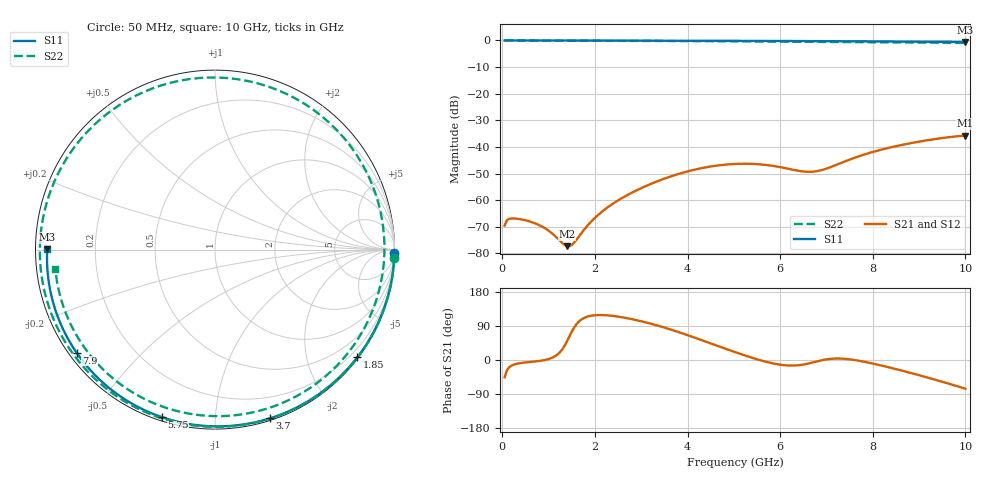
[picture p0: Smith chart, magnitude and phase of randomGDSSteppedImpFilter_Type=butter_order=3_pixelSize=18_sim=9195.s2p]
! freq	dB(S11)	phase(S11)	dB(S12)	phase(S12)
!  dB(S21)	phase(S21)	dB(S22)	phase(S22)
!S-par simulation data
#  GHz  S  DB  R 50
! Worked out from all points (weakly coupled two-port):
!   200 points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, 50 MHz to 10 GHz, reference 50 ohm
!   highest |S21| = -35.71 dB at 10 GHz (marker M1); lowest = -77.3 dB at 1.4 GHz (marker M2)
!   lowest |S11| = -0.6 dB at 10 GHz (marker M3), VSWR 29.62, Z = 1.69 + j0.0421 ohm
!   |S11| at or under -10 dB: nowhere
!   |S22| runs from -1.0 to 0.0 dB; largest |S21 - S12| = 0
!   S11 on the Smith chart (normalised r, x): 50 MHz: open; 1.85 GHz: 0.03, -2.98; 3.7 GHz: 0.02, -1.38; 5.75 GHz: 0.02, -0.73; 7.9 GHz: 0.02, -0.33; 10 GHz: 0.03, +0.00
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0.05  -0.00 -1.0  -69.53 -45.6  -69.53 -45.6  -0.00 -2.7
0.15  -0.00 -3.1  -67.00 -19.1  -67.00 -19.1  -0.00 -8.1
0.6  -0.01 -12.2  -68.02 -5.3  -68.02 -5.3  -0.03 -32.1
0.95  -0.02 -19.3  -70.86 0.9  -70.86 0.9  -0.06 -50.4
1.4  -0.04 -28.2  -77.27 49.9  -77.27 49.9  -0.09 -73.1
1.5  -0.04 -30.2  -76.80 74.7  -76.80 74.7  -0.09 -78.1
1.75  -0.04 -35.1  -71.42 110.0  -71.42 110.0  -0.11 -90.3
1.85  -0.05 -37.1  -69.33 114.9  -69.33 114.9  -0.11 -95.1
2.55  -0.06 -50.6  -59.55 113.5  -59.55 113.5  -0.15 -128.2
3.4  -0.09 -66.5  -52.55 89.2  -52.55 89.2  -0.20 -168.2
3.7  -0.10 -72.0  -50.72 77.9  -50.72 77.9  -0.22 177.1
4.35  -0.12 -83.6  -47.80 50.4  -47.80 50.4  -0.27 143.2
5.05  -0.15 -95.8  -46.37 19.8  -46.37 19.8  -0.34 101.7
5.4  -0.16 -101.8  -46.36 5.7  -46.36 5.7  -0.38 78.8
5.75  -0.18 -107.7  -46.88 -6.3  -46.88 -6.3  -0.42 54.8
6.25  -0.21 -116.0  -48.46 -14.8  -48.46 -14.8  -0.47 19.5
6.7  -0.24 -123.5  -49.30 -6.5  -49.30 -6.5  -0.51 -11.6
7.3  -0.29 -133.4  -46.12 3.7  -46.12 3.7  -0.57 -49.5
7.9  -0.34 -143.4  -42.39 -6.8  -42.39 -6.8  -0.63 -82.5
8.35  -0.38 -150.9  -40.31 -19.5  -40.31 -19.5  -0.69 -104.3
9.2  -0.48 -165.6  -37.42 -46.8  -37.42 -46.8  -0.82 -141.1
10  -0.59 179.9  -35.71 -75.9  -35.71 -75.9  -0.95 -173.1
